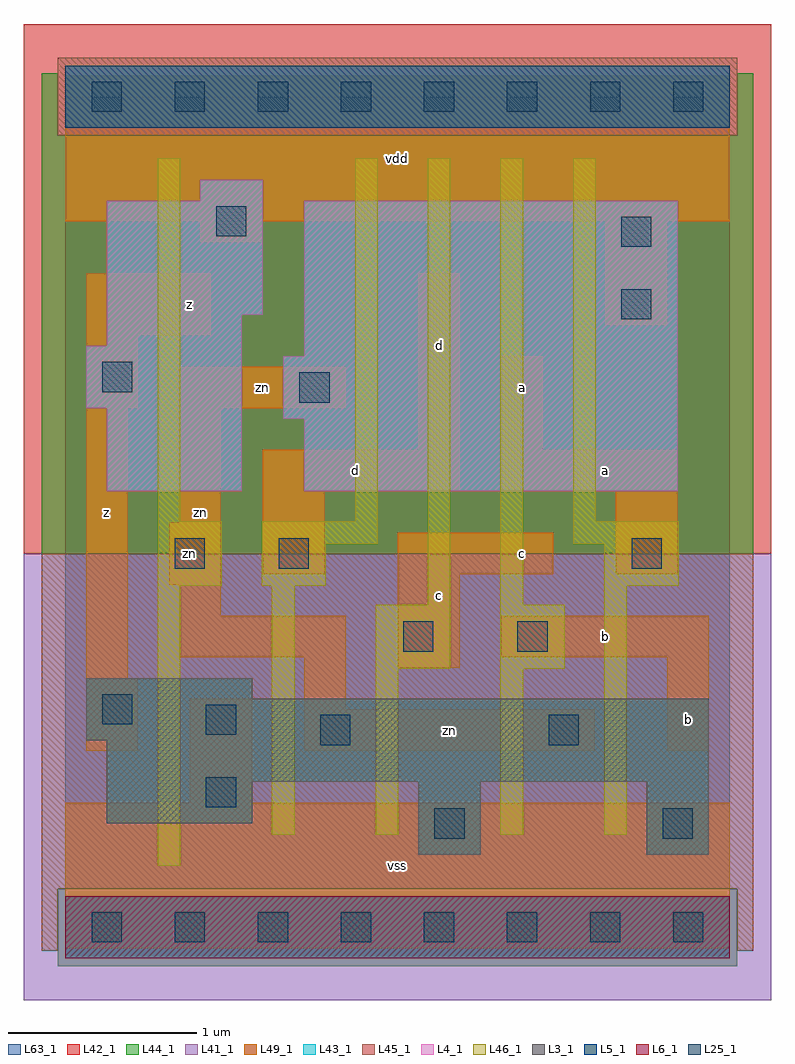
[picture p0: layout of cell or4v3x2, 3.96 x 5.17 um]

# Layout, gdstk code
import gdstk
lib = gdstk.Library(unit=1e-6, precision=1e-09)
def R(c, l, rs):  # rectangles x0, y0, x1, y1
    for r in rs: c.add(gdstk.rectangle(r[:2], r[2:], *l))
def A(c, l, x, y, w, h, nx, ny, dx, dy):  # array of equal rectangles
    R(c, l, [(x+i*dx, y+j*dy, x+i*dx+w, y+j*dy+h) for i in range(nx) for j in range(ny)])
L3_1 = (3, 1)
L4_1 = (4, 1)
L5_1 = (5, 1)
L6_1 = (6, 1)
L25_1 = (25, 1)
L41_1 = (41, 1)
L42_1 = (42, 1)
L43_1 = (43, 1)
L44_1 = (44, 1)
L45_1 = (45, 1)
L46_1 = (46, 1)
L49_1 = (49, 1)
L63_1 = (63, 1)

or4v3x2 = lib.new_cell('or4v3x2')
R(or4v3x2, L3_1, [(1.87,0.385,2.2,0.77), (3.08,0.385,3.41,0.77), (0.22,0.55,0.99,0.77), (0.22,0.77,3.41,0.99), (0.11,0.99,3.41,1.21), (0.11,1.21,0.99,1.32)])
R(or4v3x2, L4_1, [(0.22,2.31,0.935,2.75), (1.265,2.31,3.245,2.695), (1.155,2.695,3.245,3.025), (0.11,2.75,0.935,3.08), (1.265,3.025,3.245,3.85), (0.22,3.08,0.935,3.245), (0.22,3.245,1.045,3.85), (0.715,3.85,1.045,3.96)])
R(or4v3x2, L5_1, [(0,4.235,3.52,4.565)])
R(or4v3x2, L6_1, [(0,-0.165,3.52,0.165)])
A(or4v3x2, L25_1, 0.14, -0.08, 0.16, 0.16, 8, 2, 0.44, 4.4)
R(or4v3x2, L25_1, [(1.955,0.47,2.115,0.63), (3.165,0.47,3.325,0.63), (0.745,0.635,0.905,0.795), (1.35,0.965,1.51,1.125), (2.56,0.965,2.72,1.125), (0.745,1.02,0.905,1.18), (0.195,1.075,0.355,1.235), (1.79,1.46,1.95,1.62), (2.395,1.46,2.555,1.62), (0.58,1.9,0.74,2.06), (1.13,1.9,1.29,2.06), (3,1.9,3.16,2.06), (1.24,2.78,1.4,2.94), (0.195,2.835,0.355,2.995), (2.945,3.22,3.105,3.38), (2.945,3.605,3.105,3.765), (0.8,3.66,0.96,3.82)])
R(or4v3x2, L41_1, [(-0.22,-0.385,3.74,1.98)])
R(or4v3x2, L42_1, [(-0.22,1.98,3.74,4.785)])
R(or4v3x2, L43_1, [(0,-0.165,3.52,0.165), (1.87,0.385,2.2,0.77), (3.08,0.385,3.41,0.77), (0.22,0.55,0.99,0.77), (0.22,0.77,3.41,0.99), (0.11,0.99,3.41,1.21), (0.11,1.21,0.99,1.32), (0.22,2.31,0.935,2.75), (1.265,2.31,3.245,2.695), (1.155,2.695,3.245,3.025), (0.11,2.75,0.935,3.08), (1.265,3.025,3.245,3.85), (0.22,3.08,0.935,3.245), (0.22,3.245,1.045,3.85), (0.715,3.85,1.045,3.96), (0,4.235,3.52,4.565)])
R(or4v3x2, L44_1, [(-0.04,-0.205,3.56,0.205), (-0.125,1.98,3.645,4.195), (-0.125,4.195,-0.04,4.525), (3.56,4.195,3.645,4.525)])
R(or4v3x2, L45_1, [(-0.125,-0.125,-0.04,0.205), (3.56,-0.125,3.645,0.205), (-0.125,0.205,3.645,1.98), (-0.04,4.195,3.56,4.605)])
R(or4v3x2, L46_1, [(0.49,0.325,0.61,1.81), (1.095,0.49,1.215,1.81), (1.645,0.49,1.765,1.37), (2.305,0.49,2.425,1.37), (2.855,0.49,2.975,1.81), (1.645,1.37,2.04,1.71), (2.305,1.37,2.645,1.71), (1.92,1.71,2.04,4.075), (2.305,1.71,2.425,4.075), (0.49,1.81,0.83,2.15), (1.04,1.81,1.38,2.03), (2.855,1.81,3.25,2.03), (1.04,2.03,1.655,2.15), (2.69,2.03,3.25,2.15), (0.49,2.15,0.61,4.075), (1.535,2.15,1.655,4.075), (2.69,2.15,2.81,4.075)])
R(or4v3x2, L49_1, [(0,-0.11,3.52,0.66), (0.66,0.66,0.99,1.21), (0.11,0.935,0.385,1.32), (1.265,0.935,2.805,1.155), (3.19,0.935,3.41,1.43), (1.265,1.155,1.485,1.43), (0.11,1.32,0.33,2.75), (1.76,1.375,2.09,1.87), (0.605,1.43,1.485,1.65), (2.31,1.43,3.41,1.65), (0.605,1.65,0.825,1.815), (0.55,1.815,0.825,2.145), (1.045,1.87,1.375,2.31), (1.76,1.87,2.585,2.09), (2.915,1.87,3.245,2.31), (0.605,2.145,0.825,2.75), (1.045,2.31,2.09,2.53), (2.31,2.31,3.245,2.53), (1.87,2.53,2.09,3.465), (2.31,2.53,2.53,3.025), (0.11,2.75,0.385,3.135), (0.605,2.75,1.485,2.97), (0.11,3.135,0.77,3.465), (2.86,3.19,3.19,3.74), (0.715,3.63,1.045,3.74), (0,3.74,3.52,4.51)])
R(or4v3x2, L63_1, [(0,0,3.52,4.4)])
or4v3x2.add(gdstk.Label('zn', (0.66,1.98), layer=49, texttype=1))
or4v3x2.add(gdstk.Label('z', (0.22,2.2), layer=49, texttype=1))
or4v3x2.add(gdstk.Label('zn', (0.715,2.2), layer=49, texttype=1))
or4v3x2.add(gdstk.Label('z', (0.66,3.3), layer=49, texttype=1))
or4v3x2.add(gdstk.Label('vss', (1.76,0.33), layer=49, texttype=1))
or4v3x2.add(gdstk.Label('c', (1.98,1.76), layer=49, texttype=1))
or4v3x2.add(gdstk.Label('d', (1.54,2.42), layer=49, texttype=1))
or4v3x2.add(gdstk.Label('zn', (1.045,2.86), layer=49, texttype=1))
or4v3x2.add(gdstk.Label('d', (1.98,3.08), layer=49, texttype=1))
or4v3x2.add(gdstk.Label('vdd', (1.76,4.07), layer=49, texttype=1))
or4v3x2.add(gdstk.Label('zn', (2.035,1.045), layer=49, texttype=1))
or4v3x2.add(gdstk.Label('c', (2.42,1.98), layer=49, texttype=1))
or4v3x2.add(gdstk.Label('a', (2.42,2.86), layer=49, texttype=1))
or4v3x2.add(gdstk.Label('b', (2.86,1.54), layer=49, texttype=1))
or4v3x2.add(gdstk.Label('b', (3.3,1.1), layer=49, texttype=1))
or4v3x2.add(gdstk.Label('a', (2.86,2.42), layer=49, texttype=1))

lib.write_gds('or4v3x2.gds')
